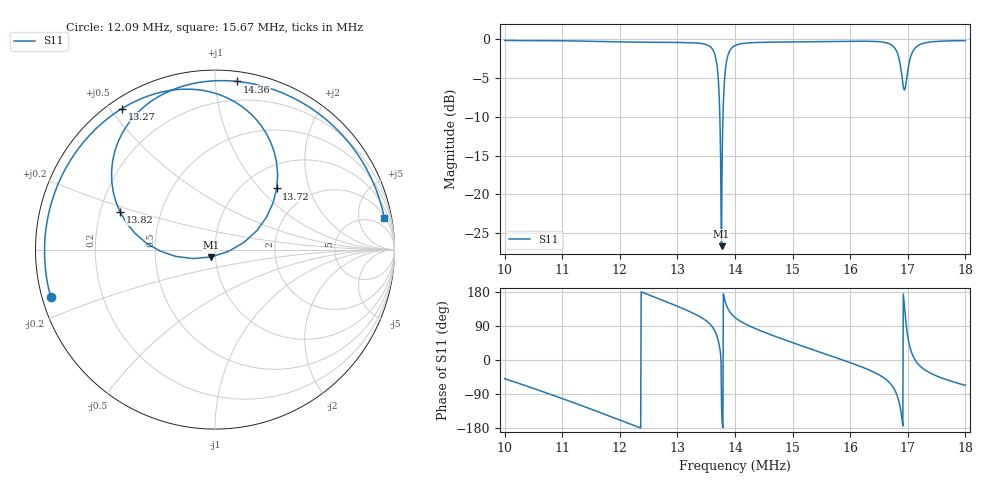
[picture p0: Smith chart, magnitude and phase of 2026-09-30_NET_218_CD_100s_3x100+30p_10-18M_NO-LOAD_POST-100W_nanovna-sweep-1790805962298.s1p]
! NanoVNA Web complex sweep
! Processing: unaveraged complex samples; linear segment spacing; no smoothing
# Hz S RI R 50
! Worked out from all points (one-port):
!   1010 points, 10 MHz to 18 MHz, reference 50 ohm
!   lowest |S11| = -26.6 dB at 13.77 MHz (marker M1), VSWR 1.10, Z = 47.7 - j3.92 ohm
!   |S11| at or under -10 dB: 13.73665 MHz to 13.79099 MHz (54.35 kHz wide, 0.395 % of centre)
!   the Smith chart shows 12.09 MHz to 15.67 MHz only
!   S11 on the Smith chart (normalised r, x): 12.09 MHz: 0.02, -0.14; 13.27 MHz: 0.04, +0.54; 13.72 MHz: 1.40, +1.25; 13.82 MHz: 0.28, +0.18; 14.36 MHz: 0.06, +1.14; 15.67 MHz: 2, +10
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1e7  0.637 -0.7373
1.100698e7  -0.2034 -0.9483
1.200604e7  -0.8888 -0.3472
1.209326e7  -0.9149 -0.2666
1.300509e7  -0.7406 0.5889
1.327468e7  -0.5181 0.7858
1.359184e7  -0.00532 0.8726
1.367906e7  0.2849 0.6487
1.37187e7  0.3436 0.341
1.376628e7  -0.022 -0.041
1.382178e7  -0.529 0.2097
1.390107e7  -0.5206 0.6409
1.400414e7  -0.3351 0.8401
1.436095e7  0.1251 0.937
1.50032e7  0.6677 0.6809
1.566924e7  0.9436 0.1765
1.600225e7  0.9547 -0.1185
1.652557e7  0.7188 -0.6285
1.667622e7  0.4831 -0.793
1.67793e7  0.1378 -0.8541
1.684273e7  -0.2261 -0.7241
1.690616e7  -0.5212 -0.1591
1.696166e7  -0.1521 0.4708
1.700131e7  0.3132 0.5446
1.707267e7  0.7705 0.2386
1.717574e7  0.8884 -0.1555
1.746912e7  0.7326 -0.6181
1.800036e7  0.3814 -0.8945
